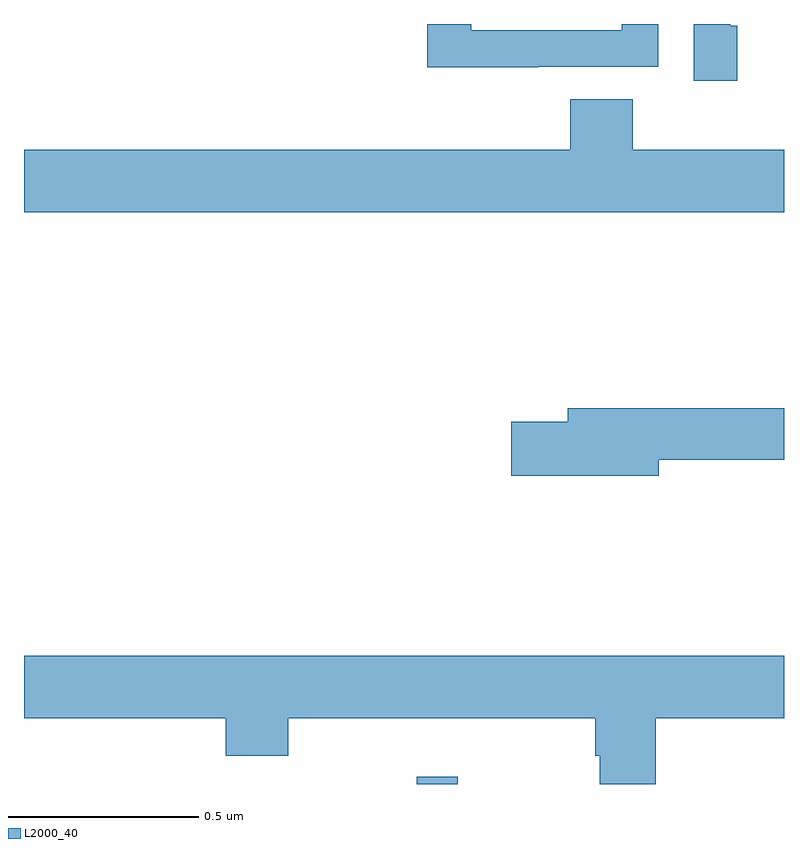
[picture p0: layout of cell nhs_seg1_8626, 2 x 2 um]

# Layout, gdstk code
import gdstk
lib = gdstk.Library(unit=1e-6, precision=1e-09)
def R(c, l, rs):  # rectangles x0, y0, x1, y1
    for r in rs: c.add(gdstk.rectangle(r[:2], r[2:], *l))
def P(c, l, *ps):  # polygons
    for p in ps: c.add(gdstk.Polygon(p, *l))
L2000_40 = (2000, 40)

nhs_seg1_8626 = lib.new_cell('nhs_seg1_8626')
R(nhs_seg1_8626, L2000_40, [(219.033,578.199,219.142,578.218)])
P(nhs_seg1_8626, L2000_40, [(219.353,580.086),(219.669,580.086),(219.669,580.199),(219.573,580.199),(219.573,580.182),(219.177,580.182),(219.177,580.199),(219.061,580.199),(219.061,580.085),(219.353,580.085)],
  [(219.877,580.194),(219.858,580.194),(219.858,580.199),(219.762,580.199),(219.762,580.05),(219.877,580.05)],
  [(220,579.868),(219.602,579.868),(219.602,580.001),(219.437,580.001),(219.437,579.868),(218,579.868),(218,579.704),(220,579.704)],
  [(219.67,579.052),(220,579.052),(220,579.188),(219.431,579.188),(219.431,579.152),(219.282,579.152),(219.282,579.01),(219.67,579.01)],
  [(219.663,578.372),(220,578.372),(220,578.536),(218,578.536),(218,578.372),(218.531,578.372),(218.531,578.273),(218.696,578.273),(218.696,578.372),(219.503,578.372),(219.503,578.274),(219.515,578.274),(219.515,578.199),(219.663,578.199)])

lib.write_gds('nhs_seg1_8626.gds')
